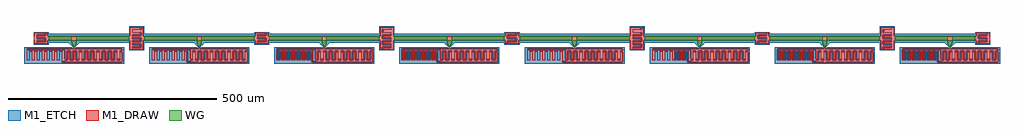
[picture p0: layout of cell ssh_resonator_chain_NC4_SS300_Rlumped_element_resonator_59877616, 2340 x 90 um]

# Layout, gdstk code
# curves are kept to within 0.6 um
from math import pi, radians
import gdstk
lib = gdstk.Library(unit=1e-6, precision=1e-09)
def R(c, l, rs):  # rectangles x0, y0, x1, y1
    for r in rs: c.add(gdstk.rectangle(r[:2], r[2:], *l))
def P(c, l, *ps):  # polygons
    for p in ps: c.add(gdstk.Polygon(p, *l))
M1_DRAW = (1, 0)
M1_ETCH = (1, 1)
WG = (102, 0)

rectangle_gdsfactorypcom = lib.new_cell('rectangle_gdsfactorypcomponentspshapesprectangle_S10_10_01a42715')
R(rectangle_gdsfactorypcom, M1_DRAW, [(0,0,10,10)])

nxn_x10_y10_ww10_lm1_dra = lib.new_cell('nxn_X10_Y10_WW10_LM1_DRAW_WM0_N0_E1_S1_W1_CScoplanar_waveguide')
nxn_x10_y10_ww10_lm1_dra.add(gdstk.Reference(rectangle_gdsfactorypcom, (0,0)))

straight_l6_cscoplanar_w = lib.new_cell('straight_L6_CScoplanar_waveguide_N2')
R(straight_l6_cscoplanar_w, M1_DRAW, [(0,-5,6,5)])
R(straight_l6_cscoplanar_w, M1_ETCH, [(0,-11,6,-5), (0,5,6,11)])
R(straight_l6_cscoplanar_w, WG, [(0,-5,6,5)])

rectangle_s10_6_lm1_etch = lib.new_cell('rectangle_S10_6_LM1_ETCH_CTrue_PTNone_PONone')
R(rectangle_s10_6_lm1_etch, M1_ETCH, [(-5,-3,5,3)])

taper_cross_section_gdsf = lib.new_cell('taper_cross_section_gdsfactorypcomponentsptapersptaper__4ff37ecf')
P(taper_cross_section_gdsf, M1_DRAW, [(0,-5),(0,5),(2.222,4.532),(7.475,1.597),(10,1),(10,-1),(7.778,-1.468),(2.525,-4.403)])
P(taper_cross_section_gdsf, M1_ETCH, [(0,-11),(0,-5),(2.222,-4.532),(7.475,-1.597),(10,-1),(10,-3),(7.778,-3.936),(2.525,-9.806),(1.212,-10.713)],
  [(10,1),(7.778,1.468),(2.525,4.403),(0,5),(0,11),(2.222,10.064),(7.475,4.194),(8.788,3.287),(10,3)])
P(taper_cross_section_gdsf, WG, [(0,-5),(0,5),(2.222,4.532),(7.475,1.597),(10,1),(10,-1),(7.778,-1.468),(2.525,-4.403)])

lumped_element_resonator = lib.new_cell('lumped_element_resonator_F20_FL20_FG2_FT5_NT15_BBS4_CSm_172655b8')
P(lumped_element_resonator, M1_DRAW, [(-16,-114),(-16,-1),(-20,-1),(-20,1),(-16,1),(-16,116),(-11,116),(-11,109),(9,109),(9,104),(-11,104),(-11,95),(9,95),(9,90),(-11,90),(-11,81),(9,81),(9,76),(-11,76),(-11,67),(9,67),(9,62),(-11,62),(-11,53),(9,53),(9,48),(-11,48),(-11,39),(9,39),(9,34),(-11,34),(-11,25),(9,25),(9,20),(-11,20),(-11,11),(9,11),(9,6),(-11,6),(-11,-3),(9,-3),(9,-8),(-11,-8),(-11,-17),(9,-17),(9,-22),(-14,-22),(-14,-112),(10,-112),(10,-108),(-12,-108),(-12,-100),(10,-100),(10,-96),(-12,-96),(-12,-88),(10,-88),(10,-84),(-12,-84),(-12,-76),(10,-76),(10,-72),(-12,-72),(-12,-64),(10,-64),(10,-60),(-12,-60),(-12,-52),(10,-52),(10,-48),(-12,-48),(-12,-40),(10,-40),(10,-36),(-12,-36),(-12,-28),(14,-28),(14,-22),(11,-22),(11,-15),(-9,-15),(-9,-10),(11,-10),(11,-1),(-9,-1),(-9,4),(11,4),(11,13),(-9,13),(-9,18),(11,18),(11,27),(-9,27),(-9,32),(11,32),(11,41),(-9,41),(-9,46),(11,46),(11,55),(-9,55),(-9,60),(11,60),(11,69),(-9,69),(-9,74),(11,74),(11,83),(-9,83),(-9,88),(11,88),(11,97),(-9,97),(-9,102),(11,102),(11,111),(-9,111),(-9,116),(16,116),(16,1),(20,1),(20,-1),(16,-1),(16,-30),(-10,-30),(-10,-34),(12,-34),(12,-42),(-10,-42),(-10,-46),(12,-46),(12,-54),(-10,-54),(-10,-58),(12,-58),(12,-66),(-10,-66),(-10,-70),(12,-70),(12,-78),(-10,-78),(-10,-82),(12,-82),(12,-90),(-10,-90),(-10,-94),(12,-94),(12,-102),(-10,-102),(-10,-106),(12,-106),(12,-114)])
P(lumped_element_resonator, M1_ETCH, [(-20,-120),(-20,-1),(-16,-1),(-16,-114),(12,-114),(12,-106),(-10,-106),(-10,-102),(12,-102),(12,-94),(-10,-94),(-10,-90),(12,-90),(12,-82),(-10,-82),(-10,-78),(12,-78),(12,-70),(-10,-70),(-10,-66),(12,-66),(12,-58),(-10,-58),(-10,-54),(12,-54),(12,-46),(-10,-46),(-10,-42),(12,-42),(12,-34),(-10,-34),(-10,-30),(16,-30),(16,-1),(20,-1),(20,-120)],
  [(-14,-112),(-14,-22),(9,-22),(9,-17),(-11,-17),(-11,-8),(9,-8),(9,-3),(-11,-3),(-11,6),(9,6),(9,11),(-11,11),(-11,20),(9,20),(9,25),(-11,25),(-11,34),(9,34),(9,39),(-11,39),(-11,48),(9,48),(9,53),(-11,53),(-11,62),(9,62),(9,67),(-11,67),(-11,76),(9,76),(9,81),(-11,81),(-11,90),(9,90),(9,95),(-11,95),(-11,104),(9,104),(9,109),(-11,109),(-11,116),(-16,116),(-16,1),(-20,1),(-20,120),(20,120),(20,1),(16,1),(16,116),(-9,116),(-9,111),(11,111),(11,102),(-9,102),(-9,97),(11,97),(11,88),(-9,88),(-9,83),(11,83),(11,74),(-9,74),(-9,69),(11,69),(11,60),(-9,60),(-9,55),(11,55),(11,46),(-9,46),(-9,41),(11,41),(11,32),(-9,32),(-9,27),(11,27),(11,18),(-9,18),(-9,13),(11,13),(11,4),(-9,4),(-9,-1),(11,-1),(11,-10),(-9,-10),(-9,-15),(11,-15),(11,-22),(14,-22),(14,-28),(-12,-28),(-12,-36),(10,-36),(10,-40),(-12,-40),(-12,-48),(10,-48),(10,-52),(-12,-52),(-12,-60),(10,-60),(10,-64),(-12,-64),(-12,-72),(10,-72),(10,-76),(-12,-76),(-12,-84),(10,-84),(10,-88),(-12,-88),(-12,-96),(10,-96),(10,-100),(-12,-100),(-12,-108),(10,-108),(10,-112)])

interdigital_capacitor_f = lib.new_cell('interdigital_capacitor_F8_FL20_FG2_T5_LMM1_DRAW_ELM1_ET_4d06b2d8')
P(interdigital_capacitor_f, M1_DRAW, [(-16,-27),(-16,-5),(-18,-5),(-18,5),(-16,5),(-16,27),(9,27),(9,22),(-11,22),(-11,13),(9,13),(9,8),(-11,8),(-11,-1),(9,-1),(9,-6),(-11,-6),(-11,-15),(9,-15),(9,-20),(-11,-20),(-11,-27)],
  [(-9,-27),(-9,-22),(11,-22),(11,-13),(-9,-13),(-9,-8),(11,-8),(11,1),(-9,1),(-9,6),(11,6),(11,15),(-9,15),(-9,20),(11,20),(11,27),(16,27),(16,5),(18,5),(18,-5),(16,-5),(16,-27)])
P(interdigital_capacitor_f, M1_ETCH, [(-18,-29),(-18,-5),(-16,-5),(-16,-27),(-11,-27),(-11,-20),(9,-20),(9,-15),(-11,-15),(-11,-6),(9,-6),(9,-1),(-11,-1),(-11,8),(9,8),(9,13),(-11,13),(-11,22),(9,22),(9,27),(-16,27),(-16,5),(-18,5),(-18,29),(18,29),(18,5),(16,5),(16,27),(11,27),(11,20),(-9,20),(-9,15),(11,15),(11,6),(-9,6),(-9,1),(11,1),(11,-8),(-9,-8),(-9,-13),(11,-13),(11,-22),(-9,-22),(-9,-27),(16,-27),(16,-5),(18,-5),(18,-29)])

straight_l121_cscoplanar = lib.new_cell('straight_L121_CScoplanar_waveguide_N2')
R(straight_l121_cscoplanar, M1_DRAW, [(0,-5,121,5)])
R(straight_l121_cscoplanar, M1_ETCH, [(0,-11,121,-5), (0,5,121,11)])
R(straight_l121_cscoplanar, WG, [(0,-5,121,5)])

c_interdigital_capacitor_f = lib.new_cell('interdigital_capacitor_F4_FL20_FG2_T5_LMM1_DRAW_ELM1_ET_4af47d97')
P(c_interdigital_capacitor_f, M1_DRAW, [(-16,-13),(-16,-5),(-18,-5),(-18,5),(-16,5),(-16,13),(9,13),(9,8),(-11,8),(-11,-1),(9,-1),(9,-6),(-11,-6),(-11,-13)],
  [(-9,-13),(-9,-8),(11,-8),(11,1),(-9,1),(-9,6),(11,6),(11,13),(16,13),(16,5),(18,5),(18,-5),(16,-5),(16,-13)])
P(c_interdigital_capacitor_f, M1_ETCH, [(-18,-15),(-18,-5),(-16,-5),(-16,-13),(-11,-13),(-11,-6),(9,-6),(9,-1),(-11,-1),(-11,8),(9,8),(9,13),(-16,13),(-16,5),(-18,5),(-18,15),(18,15),(18,5),(16,5),(16,13),(11,13),(11,6),(-9,6),(-9,1),(11,1),(11,-8),(-9,-8),(-9,-13),(16,-13),(16,-5),(18,-5),(18,-15)])

straight_l50_cscoplanar_ = lib.new_cell('straight_L50_CScoplanar_waveguide_N2')
R(straight_l50_cscoplanar_, M1_DRAW, [(0,-5,50,5)])
R(straight_l50_cscoplanar_, M1_ETCH, [(0,-11,50,-5), (0,5,50,11)])
R(straight_l50_cscoplanar_, WG, [(0,-5,50,5)])

ssh_resonator_chain_nc4_ = lib.new_cell('ssh_resonator_chain_NC4_SS300_Rlumped_element_resonator_59877616')
ssh_resonator_chain_nc4_.add(gdstk.Reference(nxn_x10_y10_ww10_lm1_dra, (-5,-5)))
ssh_resonator_chain_nc4_.add(gdstk.Reference(straight_l6_cscoplanar_w, (-5,0), rotation=pi))
ssh_resonator_chain_nc4_.add(gdstk.Reference(straight_l6_cscoplanar_w, (5,0)))
ssh_resonator_chain_nc4_.add(gdstk.Reference(straight_l6_cscoplanar_w, (0,-5), rotation=3*pi/2))
ssh_resonator_chain_nc4_.add(gdstk.Reference(rectangle_s10_6_lm1_etch, (0,8)))
ssh_resonator_chain_nc4_.add(gdstk.Reference(taper_cross_section_gdsf, (0,-11), rotation=3*pi/2))
ssh_resonator_chain_nc4_.add(gdstk.Reference(lumped_element_resonator, (0,-41), rotation=3*pi/2))
ssh_resonator_chain_nc4_.add(gdstk.Reference(nxn_x10_y10_ww10_lm1_dra, (295,-5)))
ssh_resonator_chain_nc4_.add(gdstk.Reference(straight_l6_cscoplanar_w, (295,0), rotation=pi))
ssh_resonator_chain_nc4_.add(gdstk.Reference(straight_l6_cscoplanar_w, (305,0)))
ssh_resonator_chain_nc4_.add(gdstk.Reference(straight_l6_cscoplanar_w, (300,-5), rotation=3*pi/2))
ssh_resonator_chain_nc4_.add(gdstk.Reference(rectangle_s10_6_lm1_etch, (300,8)))
ssh_resonator_chain_nc4_.add(gdstk.Reference(taper_cross_section_gdsf, (300,-11), rotation=3*pi/2))
ssh_resonator_chain_nc4_.add(gdstk.Reference(lumped_element_resonator, (300,-41), rotation=3*pi/2))
ssh_resonator_chain_nc4_.add(gdstk.Reference(nxn_x10_y10_ww10_lm1_dra, (595,-5)))
ssh_resonator_chain_nc4_.add(gdstk.Reference(straight_l6_cscoplanar_w, (595,0), rotation=pi))
ssh_resonator_chain_nc4_.add(gdstk.Reference(straight_l6_cscoplanar_w, (605,0)))
ssh_resonator_chain_nc4_.add(gdstk.Reference(straight_l6_cscoplanar_w, (600,-5), rotation=3*pi/2))
ssh_resonator_chain_nc4_.add(gdstk.Reference(rectangle_s10_6_lm1_etch, (600,8)))
ssh_resonator_chain_nc4_.add(gdstk.Reference(taper_cross_section_gdsf, (600,-11), rotation=3*pi/2))
ssh_resonator_chain_nc4_.add(gdstk.Reference(lumped_element_resonator, (600,-41), rotation=3*pi/2))
ssh_resonator_chain_nc4_.add(gdstk.Reference(nxn_x10_y10_ww10_lm1_dra, (895,-5)))
ssh_resonator_chain_nc4_.add(gdstk.Reference(straight_l6_cscoplanar_w, (895,0), rotation=pi))
ssh_resonator_chain_nc4_.add(gdstk.Reference(straight_l6_cscoplanar_w, (905,0)))
ssh_resonator_chain_nc4_.add(gdstk.Reference(straight_l6_cscoplanar_w, (900,-5), rotation=3*pi/2))
ssh_resonator_chain_nc4_.add(gdstk.Reference(rectangle_s10_6_lm1_etch, (900,8)))
ssh_resonator_chain_nc4_.add(gdstk.Reference(taper_cross_section_gdsf, (900,-11), rotation=3*pi/2))
ssh_resonator_chain_nc4_.add(gdstk.Reference(lumped_element_resonator, (900,-41), rotation=3*pi/2))
ssh_resonator_chain_nc4_.add(gdstk.Reference(nxn_x10_y10_ww10_lm1_dra, (1195,-5)))
ssh_resonator_chain_nc4_.add(gdstk.Reference(straight_l6_cscoplanar_w, (1195,0), rotation=pi))
ssh_resonator_chain_nc4_.add(gdstk.Reference(straight_l6_cscoplanar_w, (1205,0)))
ssh_resonator_chain_nc4_.add(gdstk.Reference(straight_l6_cscoplanar_w, (1200,-5), rotation=3*pi/2))
ssh_resonator_chain_nc4_.add(gdstk.Reference(rectangle_s10_6_lm1_etch, (1200,8)))
ssh_resonator_chain_nc4_.add(gdstk.Reference(taper_cross_section_gdsf, (1200,-11), rotation=3*pi/2))
ssh_resonator_chain_nc4_.add(gdstk.Reference(lumped_element_resonator, (1200,-41), rotation=3*pi/2))
ssh_resonator_chain_nc4_.add(gdstk.Reference(nxn_x10_y10_ww10_lm1_dra, (1495,-5)))
ssh_resonator_chain_nc4_.add(gdstk.Reference(straight_l6_cscoplanar_w, (1495,0), rotation=pi))
ssh_resonator_chain_nc4_.add(gdstk.Reference(straight_l6_cscoplanar_w, (1505,0)))
ssh_resonator_chain_nc4_.add(gdstk.Reference(straight_l6_cscoplanar_w, (1500,-5), rotation=3*pi/2))
ssh_resonator_chain_nc4_.add(gdstk.Reference(rectangle_s10_6_lm1_etch, (1500,8)))
ssh_resonator_chain_nc4_.add(gdstk.Reference(taper_cross_section_gdsf, (1500,-11), rotation=3*pi/2))
ssh_resonator_chain_nc4_.add(gdstk.Reference(lumped_element_resonator, (1500,-41), rotation=3*pi/2))
ssh_resonator_chain_nc4_.add(gdstk.Reference(nxn_x10_y10_ww10_lm1_dra, (1795,-5)))
ssh_resonator_chain_nc4_.add(gdstk.Reference(straight_l6_cscoplanar_w, (1795,0), rotation=pi))
ssh_resonator_chain_nc4_.add(gdstk.Reference(straight_l6_cscoplanar_w, (1805,0)))
ssh_resonator_chain_nc4_.add(gdstk.Reference(straight_l6_cscoplanar_w, (1800,-5), rotation=3*pi/2))
ssh_resonator_chain_nc4_.add(gdstk.Reference(rectangle_s10_6_lm1_etch, (1800,8)))
ssh_resonator_chain_nc4_.add(gdstk.Reference(taper_cross_section_gdsf, (1800,-11), rotation=3*pi/2))
ssh_resonator_chain_nc4_.add(gdstk.Reference(lumped_element_resonator, (1800,-41), rotation=3*pi/2))
ssh_resonator_chain_nc4_.add(gdstk.Reference(nxn_x10_y10_ww10_lm1_dra, (2095,-5)))
ssh_resonator_chain_nc4_.add(gdstk.Reference(straight_l6_cscoplanar_w, (2095,0), rotation=pi))
ssh_resonator_chain_nc4_.add(gdstk.Reference(straight_l6_cscoplanar_w, (2105,0)))
ssh_resonator_chain_nc4_.add(gdstk.Reference(straight_l6_cscoplanar_w, (2100,-5), rotation=3*pi/2))
ssh_resonator_chain_nc4_.add(gdstk.Reference(rectangle_s10_6_lm1_etch, (2100,8)))
ssh_resonator_chain_nc4_.add(gdstk.Reference(taper_cross_section_gdsf, (2100,-11), rotation=3*pi/2))
ssh_resonator_chain_nc4_.add(gdstk.Reference(lumped_element_resonator, (2100,-41), rotation=3*pi/2))
ssh_resonator_chain_nc4_.add(gdstk.Reference(interdigital_capacitor_f, (150,0)))
ssh_resonator_chain_nc4_.add(gdstk.Reference(straight_l121_cscoplanar, (11,0)))
ssh_resonator_chain_nc4_.add(gdstk.Reference(straight_l121_cscoplanar, (168,0)))
ssh_resonator_chain_nc4_.add(gdstk.Reference(c_interdigital_capacitor_f, (450,0)))
ssh_resonator_chain_nc4_.add(gdstk.Reference(straight_l121_cscoplanar, (311,0)))
ssh_resonator_chain_nc4_.add(gdstk.Reference(straight_l121_cscoplanar, (468,0)))
ssh_resonator_chain_nc4_.add(gdstk.Reference(interdigital_capacitor_f, (750,0)))
ssh_resonator_chain_nc4_.add(gdstk.Reference(straight_l121_cscoplanar, (611,0)))
ssh_resonator_chain_nc4_.add(gdstk.Reference(straight_l121_cscoplanar, (768,0)))
ssh_resonator_chain_nc4_.add(gdstk.Reference(c_interdigital_capacitor_f, (1050,0)))
ssh_resonator_chain_nc4_.add(gdstk.Reference(straight_l121_cscoplanar, (911,0)))
ssh_resonator_chain_nc4_.add(gdstk.Reference(straight_l121_cscoplanar, (1068,0)))
ssh_resonator_chain_nc4_.add(gdstk.Reference(interdigital_capacitor_f, (1350,0)))
ssh_resonator_chain_nc4_.add(gdstk.Reference(straight_l121_cscoplanar, (1211,0)))
ssh_resonator_chain_nc4_.add(gdstk.Reference(straight_l121_cscoplanar, (1368,0)))
ssh_resonator_chain_nc4_.add(gdstk.Reference(c_interdigital_capacitor_f, (1650,0)))
ssh_resonator_chain_nc4_.add(gdstk.Reference(straight_l121_cscoplanar, (1511,0)))
ssh_resonator_chain_nc4_.add(gdstk.Reference(straight_l121_cscoplanar, (1668,0)))
ssh_resonator_chain_nc4_.add(gdstk.Reference(interdigital_capacitor_f, (1950,0)))
ssh_resonator_chain_nc4_.add(gdstk.Reference(straight_l121_cscoplanar, (1811,0)))
ssh_resonator_chain_nc4_.add(gdstk.Reference(straight_l121_cscoplanar, (1968,0)))
ssh_resonator_chain_nc4_.add(gdstk.Reference(straight_l50_cscoplanar_, (-11,0), rotation=pi))
ssh_resonator_chain_nc4_.add(gdstk.Reference(c_interdigital_capacitor_f, (-79,0), rotation=pi))
ssh_resonator_chain_nc4_.add(gdstk.Reference(straight_l50_cscoplanar_, (2111,0)))
ssh_resonator_chain_nc4_.add(gdstk.Reference(c_interdigital_capacitor_f, (2179,0)))

lib.write_gds('ssh_resonator_chain_NC4_SS300_Rlumped_element_resonator_59877616.gds')
